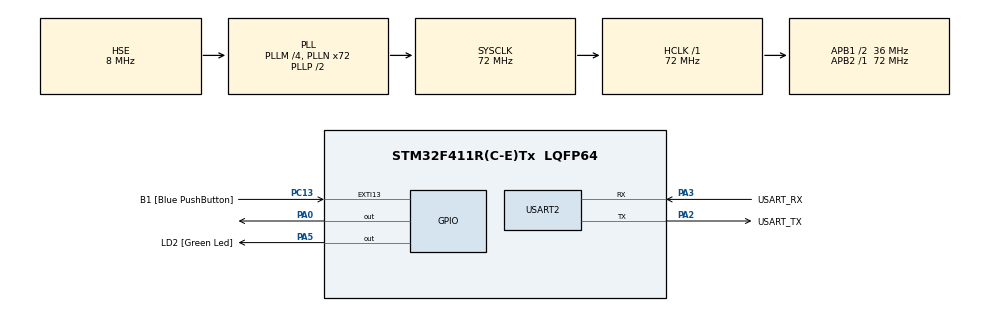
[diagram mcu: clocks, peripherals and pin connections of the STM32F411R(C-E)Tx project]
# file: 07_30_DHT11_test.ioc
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Mcu.Family=STM32F4
Mcu.Name=STM32F411R(C-E)Tx
Mcu.Package=LQFP64
NVIC.PriorityGroup=NVIC_PRIORITYGROUP_0
NVIC.USART2_IRQn=true\:0\:0\:false\:false\:true\:true\:true\:true
PA0-WKUP.Signal=GPIO_Output
PA13.GPIO_Label=TMS
PA13.Mode=Serial_Wire
PA13.Signal=SYS_JTMS-SWDIO
PA14.GPIO_Label=TCK
PA14.Mode=Serial_Wire
PA14.Signal=SYS_JTCK-SWCLK
PA2.GPIO_Label=USART_TX
PA2.Mode=Asynchronous
PA2.Signal=USART2_TX
PA3.GPIO_Label=USART_RX
PA3.Mode=Asynchronous
PA3.Signal=USART2_RX
PA5.GPIO_Label=LD2 [Green Led]
PA5.Signal=GPIO_Output
PB3.GPIO_Label=SWO
PB3.Signal=SYS_JTDO-SWO
PC13-ANTI_TAMP.GPIO_Label=B1 [Blue PushButton]
PC13-ANTI_TAMP.GPIO_ModeDefaultEXTI=GPIO_MODE_IT_FALLING
PC13-ANTI_TAMP.Signal=GPXTI13
PC14-OSC32_IN.Mode=LSE-External-Oscillator
PC14-OSC32_IN.Signal=RCC_OSC32_IN
PC15-OSC32_OUT.Mode=LSE-External-Oscillator
PC15-OSC32_OUT.Signal=RCC_OSC32_OUT
PH0\ -\ OSC_IN.Mode=HSE-External-Oscillator
PH0\ -\ OSC_IN.Signal=RCC_OSC_IN
PH1\ -\ OSC_OUT.Mode=HSE-External-Oscillator
PH1\ -\ OSC_OUT.Signal=RCC_OSC_OUT
ProjectManager.HeapSize=0x200
ProjectManager.StackSize=0x400
ProjectManager.TargetToolchain=STM32CubeIDE
RCC.48MHZClocksFreq_Value=36000000
RCC.AHBFreq_Value=72000000
RCC.APB1CLKDivider=RCC_HCLK_DIV2
RCC.APB1Freq_Value=36000000
RCC.APB1TimFreq_Value=72000000
RCC.APB2Freq_Value=72000000
RCC.APB2TimFreq_Value=72000000
RCC.CortexFreq_Value=72000000
RCC.FLatency-AdvancedSettings=FLASH_LATENCY_2
RCC.HCLKFreq_Value=72000000
RCC.HSE_VALUE=8000000
RCC.HSI_VALUE=16000000
RCC.PLLM=4
RCC.PLLN=72
RCC.PLLSourceVirtual=RCC_PLLSOURCE_HSE
RCC.SYSCLKFreq_VALUE=72000000
RCC.SYSCLKSource=RCC_SYSCLKSOURCE_PLLCLK
RCC.VCOOutputFreq_Value=144000000
TIM1.Prescaler=71
USART2.VirtualMode=VM_ASYNC
VP_TIM1_VS_ClockSourceINT.Mode=Internal
board=NUCLEO-F411RE

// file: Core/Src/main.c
/* USER CODE BEGIN Header */
/**
  ******************************************************************************
  * @file           : main.c
  * @brief          : Main program body
  ******************************************************************************
  * @attention
  *
  * Copyright (c) 2024 STMicroelectronics.
  * All rights reserved.
  *
  * This software is licensed under terms that can be found in the LICENSE file
  * in the root directory of this software component.
  * If no LICENSE file comes with this software, it is provided AS-IS.
  *
  ******************************************************************************
  */
/* USER CODE END Header */
#include "main.h"

TIM_HandleTypeDef htim1;

UART_HandleTypeDef huart2;

void SystemClock_Config(void);
static void MX_GPIO_Init(void);
static void MX_USART2_UART_Init(void);
static void MX_TIM1_Init(void);
/* USER CODE BEGIN PFP */
int __io_putchar(int ch)
{
	HAL_UART_Transmit(&huart2, &ch, 1, 5);
}

/* USER CODE END PFP */

/* USER CODE BEGIN 0 */
#define DHT11_PORT GPIOA
#define DHT11_PIN GPIO_PIN_0
uint8_t RHI, RHD, TCI, TCD, SUM;
uint32_t pMillis, cMillis;
float tCelsius = 0;
float tFagrenheit = 0;
float RH = 0;

void microDelay(uint16_t delay)
{
	__HAL_TIM_SET_COUNTER(&htim1, 0);
	while(__HAL_TIM_GET_COUNTER(&htim1) < delay);
}

uint8_t DHT11_Start(void)
{

  uint8_t Response = 0;
  GPIO_InitTypeDef GPIO_InitStructPrivate = {0};
  GPIO_InitStructPrivate.Pin = DHT11_PIN;
  GPIO_InitStructPrivate.Mode = GPIO_MODE_OUTPUT_PP;
  GPIO_InitStructPrivate.Speed = GPIO_SPEED_FREQ_LOW;
  GPIO_InitStructPrivate.Pull = GPIO_NOPULL;
  HAL_GPIO_Init(DHT11_PORT, &GPIO_InitStructPrivate); // set the pin as output
  HAL_GPIO_WritePin (DHT11_PORT, DHT11_PIN, 0);   // pull the pin low
  HAL_Delay(20);   // wait for 20ms
  HAL_GPIO_WritePin (DHT11_PORT, DHT11_PIN, 1);   // pull the pin high
  microDelay (30);   // wait for 30us
  GPIO_InitStructPrivate.Mode = GPIO_MODE_INPUT;
  GPIO_InitStructPrivate.Pull = GPIO_PULLUP;
  HAL_GPIO_Init(DHT11_PORT, &GPIO_InitStructPrivate); // set the pin as input
  microDelay (40);
  if (!(HAL_GPIO_ReadPin (DHT11_PORT, DHT11_PIN)))
  {
	microDelay (80);
	if ((HAL_GPIO_ReadPin (DHT11_PORT, DHT11_PIN))) Response = 1;
  }
  pMillis = HAL_GetTick();
  cMillis = HAL_GetTick();
  while ((HAL_GPIO_ReadPin (DHT11_PORT, DHT11_PIN)) && pMillis + 2 > cMillis)
  {
	cMillis = HAL_GetTick();
  }
  return Response;
}

uint8_t DHT11_Read (void)
{
  uint8_t a,b;
  for (a=0;a<8;a++)
  {
    pMillis = HAL_GetTick();
    cMillis = HAL_GetTick();
    while (!(HAL_GPIO_ReadPin (DHT11_PORT, DHT11_PIN)) && pMillis + 2 > cMillis)
    {  // wait for the pin to go high
      cMillis = HAL_GetTick();
    }
    microDelay (40);   // wait for 40 us
    if (!(HAL_GPIO_ReadPin (DHT11_PORT, DHT11_PIN)))   // if the pin is low
      b&= ~(1<<(7-a));
    else
      b|= (1<<(7-a));
    pMillis = HAL_GetTick();
    cMillis = HAL_GetTick();
    while ((HAL_GPIO_ReadPin (DHT11_PORT, DHT11_PIN)) && pMillis + 2 > cMillis)
    {  // wait for the pin to go low
      cMillis = HAL_GetTick();
    }
  }
  return b;
}

/* USER CODE END 0 */

int main(void)
{

  /* MCU Configuration--------------------------------------------------------*/

  /* Reset of all peripherals, Initializes the Flash interface and the Systick. */
  HAL_Init();

  /* Configure the system clock */
  SystemClock_Config();

  /* Initialize all configured peripherals */
  MX_GPIO_Init();
  MX_USART2_UART_Init();
  MX_TIM1_Init();
  /* USER CODE BEGIN 2 */
  HAL_TIM_Base_Start(&htim1);

  printf(" DHT11 Test Start..\r\n");

  /* USER CODE END 2 */

  /* Infinite loop */
  /* USER CODE BEGIN WHILE */
  while (1)
  {

	  /*
	  if(DHT11_Start())
	      {
		  printf("DHT11_Start Complete!");
	        RHI = DHT11_Read(); // Relative humidity integral
	        RHD = DHT11_Read(); // Relative humidity decimal
	        TCI = DHT11_Read(); // Celsius integral
	        TCD = DHT11_Read(); // Celsius decimal
	        SUM = DHT11_Read(); // Check sum
	        if (RHI + RHD + TCI + TCD == SUM)
	        {
	          // Can use RHI and TCI for any purposes if whole number only needed
	          /*tCelsius = (float)TCI + (float)(TCD/10.0);
	          tFahrenheit = tCelsius * 9/5 + 32;
	          RH = (float)RHI + (float)(RHD/10.0);
	          // Can use tCelsius, tFahrenheit and RH for any purposes
	        }
	        printf("Temperature: %0.2f | Humidity: %0.2f \r\n", (float)TCD, (float)RHD);

	        if (TCI < 15)
	        {
	          HAL_GPIO_WritePin(GPIOA, GPIO_PIN_7, 1);
	          HAL_GPIO_WritePin(GPIOA, GPIO_PIN_4, 0);
	          HAL_GPIO_WritePin(GPIOA, GPIO_PIN_1, 0);
	        }
	        else if (TCI < 25 )
	        {
	          HAL_GPIO_WritePin(GPIOA, GPIO_PIN_7, 0);
	          HAL_GPIO_WritePin(GPIOA, GPIO_PIN_4, 1);
	          HAL_GPIO_WritePin(GPIOA, GPIO_PIN_1, 0);
	        }
	        else
	        {
	          HAL_GPIO_WritePin(GPIOA, GPIO_PIN_7, 0);
	          HAL_GPIO_WritePin(GPIOA, GPIO_PIN_4, 0);
	          HAL_GPIO_WritePin(GPIOA, GPIO_PIN_1, 1);
	        }

	      }*/

	      HAL_Delay(2000);
    /* USER CODE END WHILE */

    /* USER CODE BEGIN 3 */
	      printf("DHT11_Start Failed..");
  }
  /* USER CODE END 3 */
}

void SystemClock_Config(void)
{
  RCC_OscInitTypeDef RCC_OscInitStruct = {0};
  RCC_ClkInitTypeDef RCC_ClkInitStruct = {0};

  /** Configure the main internal regulator output voltage
  */
  __HAL_RCC_PWR_CLK_ENABLE();
  __HAL_PWR_VOLTAGESCALING_CONFIG(PWR_REGULATOR_VOLTAGE_SCALE1);

  /** Initializes the RCC Oscillators according to the specified parameters
  * in the RCC_OscInitTypeDef structure.
  */
  RCC_OscInitStruct.OscillatorType = RCC_OSCILLATORTYPE_HSE;
  RCC_OscInitStruct.HSEState = RCC_HSE_ON;
  RCC_OscInitStruct.PLL.PLLState = RCC_PLL_ON;
  RCC_OscInitStruct.PLL.PLLSource = RCC_PLLSOURCE_HSE;
  RCC_OscInitStruct.PLL.PLLM = 4;
  RCC_OscInitStruct.PLL.PLLN = 72;
  RCC_OscInitStruct.PLL.PLLP = RCC_PLLP_DIV2;
  RCC_OscInitStruct.PLL.PLLQ = 4;
  if (HAL_RCC_OscConfig(&RCC_OscInitStruct) != HAL_OK)
  {
    Error_Handler();
  }

  /** Initializes the CPU, AHB and APB buses clocks
  */
  RCC_ClkInitStruct.ClockType = RCC_CLOCKTYPE_HCLK|RCC_CLOCKTYPE_SYSCLK
                              |RCC_CLOCKTYPE_PCLK1|RCC_CLOCKTYPE_PCLK2;
  RCC_ClkInitStruct.SYSCLKSource = RCC_SYSCLKSOURCE_PLLCLK;
  RCC_ClkInitStruct.AHBCLKDivider = RCC_SYSCLK_DIV1;
  RCC_ClkInitStruct.APB1CLKDivider = RCC_HCLK_DIV2;
  RCC_ClkInitStruct.APB2CLKDivider = RCC_HCLK_DIV1;

  if (HAL_RCC_ClockConfig(&RCC_ClkInitStruct, FLASH_LATENCY_2) != HAL_OK)
  {
    Error_Handler();
  }
}

static void MX_TIM1_Init(void)
{

  TIM_ClockConfigTypeDef sClockSourceConfig = {0};
  TIM_MasterConfigTypeDef sMasterConfig = {0};

  htim1.Instance = TIM1;
  htim1.Init.Prescaler = 71;
  htim1.Init.CounterMode = TIM_COUNTERMODE_UP;
  htim1.Init.Period = 65535;
  htim1.Init.ClockDivision = TIM_CLOCKDIVISION_DIV1;
  htim1.Init.RepetitionCounter = 0;
  htim1.Init.AutoReloadPreload = TIM_AUTORELOAD_PRELOAD_DISABLE;
  if (HAL_TIM_Base_Init(&htim1) != HAL_OK)
  {
    Error_Handler();
  }
  sClockSourceConfig.ClockSource = TIM_CLOCKSOURCE_INTERNAL;
  if (HAL_TIM_ConfigClockSource(&htim1, &sClockSourceConfig) != HAL_OK)
  {
    Error_Handler();
  }
  sMasterConfig.MasterOutputTrigger = TIM_TRGO_RESET;
  sMasterConfig.MasterSlaveMode = TIM_MASTERSLAVEMODE_DISABLE;
  if (HAL_TIMEx_MasterConfigSynchronization(&htim1, &sMasterConfig) != HAL_OK)
  {
    Error_Handler();
  }

}

static void MX_USART2_UART_Init(void)
{

  huart2.Instance = USART2;
  huart2.Init.BaudRate = 115200;
  huart2.Init.WordLength = UART_WORDLENGTH_8B;
  huart2.Init.StopBits = UART_STOPBITS_1;
  huart2.Init.Parity = UART_PARITY_NONE;
  huart2.Init.Mode = UART_MODE_TX_RX;
  huart2.Init.HwFlowCtl = UART_HWCONTROL_NONE;
  huart2.Init.OverSampling = UART_OVERSAMPLING_16;
  if (HAL_UART_Init(&huart2) != HAL_OK)
  {
    Error_Handler();
  }

}

static void MX_GPIO_Init(void)
{
  GPIO_InitTypeDef GPIO_InitStruct = {0};

  /* GPIO Ports Clock Enable */
  __HAL_RCC_GPIOC_CLK_ENABLE();
  __HAL_RCC_GPIOH_CLK_ENABLE();
  __HAL_RCC_GPIOA_CLK_ENABLE();
  __HAL_RCC_GPIOB_CLK_ENABLE();

  /*Configure GPIO pin Output Level */
  HAL_GPIO_WritePin(GPIOA, GPIO_PIN_0|LD2_Pin, GPIO_PIN_RESET);

  /*Configure GPIO pin : B1_Pin */
  GPIO_InitStruct.Pin = B1_Pin;
  GPIO_InitStruct.Mode = GPIO_MODE_IT_FALLING;
  GPIO_InitStruct.Pull = GPIO_NOPULL;
  HAL_GPIO_Init(B1_GPIO_Port, &GPIO_InitStruct);

  /*Configure GPIO pins : PA0 LD2_Pin */
  GPIO_InitStruct.Pin = GPIO_PIN_0|LD2_Pin;
  GPIO_InitStruct.Mode = GPIO_MODE_OUTPUT_PP;
  GPIO_InitStruct.Pull = GPIO_NOPULL;
  GPIO_InitStruct.Speed = GPIO_SPEED_FREQ_LOW;
  HAL_GPIO_Init(GPIOA, &GPIO_InitStruct);

}

void Error_Handler(void)
{
  __disable_irq();
  while (1)
  {
  }
}
